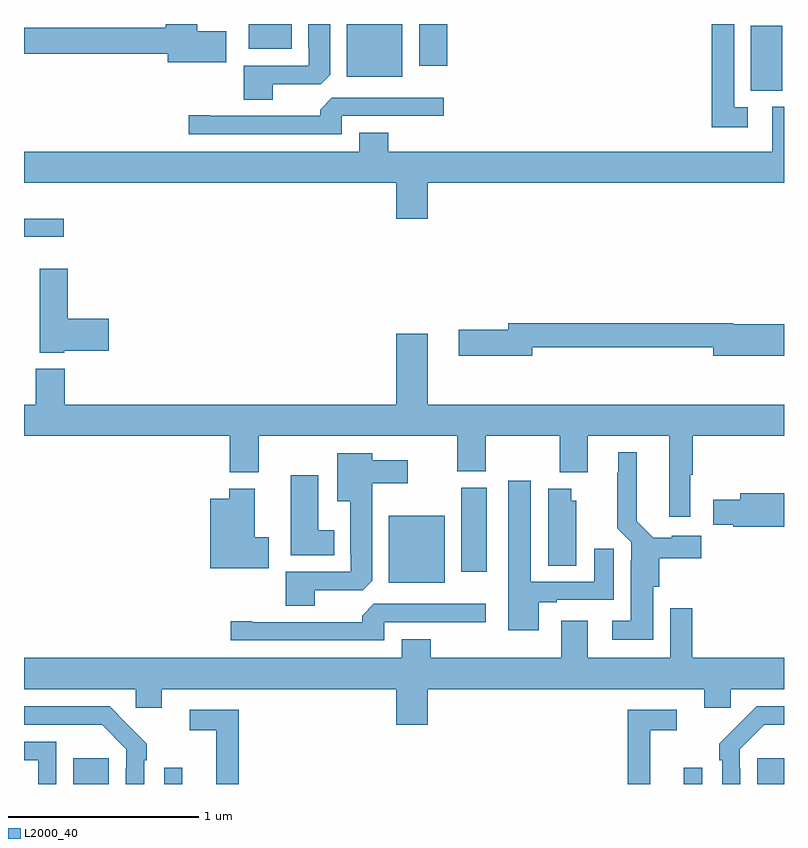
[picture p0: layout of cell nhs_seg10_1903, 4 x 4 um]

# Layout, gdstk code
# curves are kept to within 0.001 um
import gdstk
lib = gdstk.Library(unit=1e-6, precision=1e-09)
def R(c, l, rs):  # rectangles x0, y0, x1, y1
    for r in rs: c.add(gdstk.rectangle(r[:2], r[2:], *l))
def P(c, l, *ps):  # polygons
    for p in ps: c.add(gdstk.Polygon(p, *l))
L2000_40 = (2000, 40)

nhs_seg10_1903 = lib.new_cell('nhs_seg10_1903')
R(nhs_seg10_1903, L2000_40, [(211.259,1282.5,211.447,1282.636), (211.737,1282.5,211.833,1282.585), (214.473,1282.5,214.569,1282.585), (214.859,1282.5,215,1282.636), (212.921,1283.558,213.214,1283.911), (213.302,1283.616,213.436,1284.06), (211,1285.38,211.21,1285.476), (214.826,1286.149,214.99,1286.492), (212.699,1286.222,212.992,1286.5), (213.08,1286.28,213.227,1286.5), (212.183,1286.369,212.41,1286.5)])
P(nhs_seg10_1903, L2000_40, [(212.308,1286.184),(212.562,1286.184),(212.611,1286.233),(212.611,1286.5),(212.495,1286.5),(212.495,1286.377),(212.499,1286.377),(212.499,1286.28),(212.156,1286.28),(212.156,1286.101),(212.308,1286.101)],
  [(214.81,1286.061),(214.737,1286.061),(214.737,1286.5),(214.621,1286.5),(214.621,1285.956),(214.81,1285.956)],
  [(212.065,1286.463),(211.912,1286.463),(211.912,1286.5),(211.745,1286.5),(211.745,1286.48),(211,1286.48),(211,1286.344),(211.757,1286.344),(211.757,1286.3),(212.065,1286.3)],
  [(212.673,1286.016),(213.208,1286.016),(213.208,1286.112),(212.619,1286.112),(212.558,1286.05),(212.558,1286.016),(211.978,1286.016),(211.978,1286.021),(211.866,1286.021),(211.866,1285.92),(212.673,1285.92)],
  [(213.124,1285.664),(215,1285.664),(215,1286.064),(214.937,1286.064),(214.937,1285.828),(212.918,1285.828),(212.918,1285.927),(212.765,1285.927),(212.765,1285.828),(211,1285.828),(211,1285.664),(212.96,1285.664),(212.96,1285.476),(213.124,1285.476)],
  [(211.212,1284.779),(211.447,1284.779),(211.447,1284.95),(211.229,1284.95),(211.229,1285.213),(211.082,1285.213),(211.082,1284.77),(211.212,1284.77)],
  [(213.676,1284.798),(214.628,1284.798),(214.628,1284.755),(215,1284.755),(215,1284.92),(214.732,1284.92),(214.732,1284.926),(213.548,1284.926),(213.548,1284.89),(213.288,1284.89),(213.288,1284.755),(213.676,1284.755)],
  [(214.507,1284.128),(214.52,1284.128),(214.52,1284.332),(215,1284.332),(215,1284.496),(213.124,1284.496),(213.124,1284.871),(212.96,1284.871),(212.96,1284.496),(211.214,1284.496),(211.214,1284.685),(211.061,1284.685),(211.061,1284.496),(211,1284.496),(211,1284.332),(212.084,1284.332),(212.084,1284.14),(212.236,1284.14),(212.236,1284.332),(213.281,1284.332),(213.281,1284.145),(213.429,1284.145),(213.429,1284.332),(213.82,1284.332),(213.82,1284.14),(213.967,1284.14),(213.967,1284.332),(214.397,1284.332),(214.397,1283.907),(214.507,1283.907)],
  [(214.312,1283.538),(214.343,1283.538),(214.343,1283.687),(214.565,1283.687),(214.565,1283.807),(214.41,1283.807),(214.41,1283.797),(214.311,1283.797),(214.225,1283.884),(214.225,1284.247),(214.127,1284.247),(214.127,1284.137),(214.123,1284.137),(214.123,1283.846),(214.197,1283.772),(214.197,1283.678),(214.193,1283.678),(214.193,1283.359),(214.095,1283.359),(214.095,1283.258),(214.312,1283.258)],
  [(212.53,1283.52),(212.784,1283.52),(212.833,1283.569),(212.833,1284.083),(213.019,1284.083),(213.019,1284.205),(212.833,1284.205),(212.833,1284.241),(212.648,1284.241),(212.648,1283.987),(212.717,1283.987),(212.717,1283.713),(212.721,1283.713),(212.721,1283.616),(212.378,1283.616),(212.378,1283.437),(212.53,1283.437)],
  [(212.632,1283.836),(212.548,1283.836),(212.548,1284.124),(212.405,1284.124),(212.405,1283.705),(212.632,1283.705)],
  [(213.709,1283.457),(213.805,1283.457),(213.805,1283.469),(214.105,1283.469),(214.105,1283.737),(214.001,1283.737),(214.001,1283.565),(213.667,1283.565),(213.667,1284.097),(213.548,1284.097),(213.548,1283.31),(213.709,1283.31)],
  [(212.287,1283.799),(212.215,1283.799),(212.215,1284.055),(212.081,1284.055),(212.081,1284.001),(211.979,1284.001),(211.979,1283.636),(212.287,1283.636)],
  [(213.907,1283.991),(213.88,1283.991),(213.88,1284.055),(213.758,1284.055),(213.758,1283.65),(213.907,1283.65)],
  [(215,1284.031),(214.769,1284.031),(214.769,1283.997),(214.627,1283.997),(214.627,1283.865),(214.732,1283.865),(214.732,1283.855),(215,1283.855)],
  [(212.895,1283.352),(213.43,1283.352),(213.43,1283.448),(212.841,1283.448),(212.78,1283.386),(212.78,1283.352),(212.2,1283.352),(212.2,1283.357),(212.088,1283.357),(212.088,1283.256),(212.895,1283.256)],
  [(213.124,1283),(214.58,1283),(214.58,1282.902),(214.719,1282.902),(214.719,1283),(215,1283),(215,1283.164),(214.517,1283.164),(214.517,1283.425),(214.401,1283.425),(214.401,1283.164),(213.967,1283.164),(213.967,1283.359),(213.827,1283.359),(213.827,1283.164),(213.14,1283.164),(213.14,1283.263),(212.987,1283.263),(212.987,1283.164),(211,1283.164),(211,1283),(211.587,1283),(211.587,1282.902),(211.726,1282.902),(211.726,1283),(212.96,1283),(212.96,1282.812),(213.124,1282.812)],
  [(211.632,1282.625),(211.647,1282.625),(211.647,1282.713),(211.45,1282.908),(211,1282.908),(211,1282.812),(211.411,1282.812),(211.539,1282.683),(211.539,1282.583),(211.536,1282.583),(211.536,1282.5),(211.632,1282.5)],
  [(214.77,1282.583),(214.767,1282.583),(214.767,1282.683),(214.896,1282.812),(215,1282.812),(215,1282.908),(214.856,1282.908),(214.659,1282.713),(214.659,1282.625),(214.674,1282.625),(214.674,1282.5),(214.77,1282.5)],
  [(212.129,1282.89),(211.872,1282.89),(211.872,1282.782),(212.012,1282.782),(212.012,1282.5),(212.129,1282.5)],
  [(214.295,1282.782),(214.435,1282.782),(214.435,1282.89),(214.177,1282.89),(214.177,1282.5),(214.295,1282.5)],
  [(211.17,1282.722),(211,1282.722),(211,1282.626),(211.074,1282.626),(211.074,1282.5),(211.17,1282.5)])

lib.write_gds('nhs_seg10_1903.gds')
